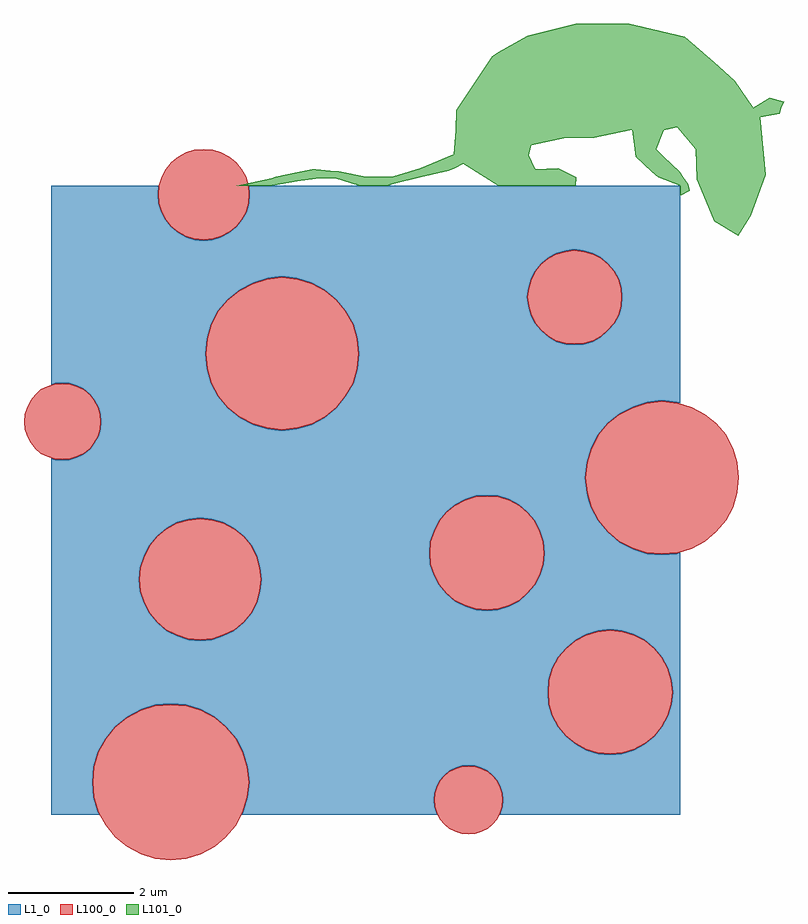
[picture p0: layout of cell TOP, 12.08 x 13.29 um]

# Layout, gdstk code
import gdstk
lib = gdstk.Library(unit=1e-6, precision=1e-08)
def R(c, l, rs):  # rectangles x0, y0, x1, y1
    for r in rs: c.add(gdstk.rectangle(r[:2], r[2:], *l))
def P(c, l, *ps):  # polygons
    for p in ps: c.add(gdstk.Polygon(p, *l))
L1_0 = (1, 0)
L100_0 = (100, 0)
L101_0 = (101, 0)

top = lib.new_cell('TOP')
R(top, L1_0, [(3.15,0,6.09,0.52), (7.18,0,8.06,0.24), (8.06,0,8.51,1.03), (8.51,0,8.89,0.96), (9.08,0,10,0.98), (7.18,0.24,8.06,0.54), (3.15,0.52,6.09,1.21), (7.09,0.54,8.06,1.4), (6.09,0.69,6.33,0.78), (6.33,0.74,6.43,0.78), (6.84,0.74,7.09,0.78), (6.09,0.78,6.64,1.4), (6.64,0.78,7.09,1.4), (9.26,0.98,9.59,1.03), (9.59,0.98,10,1.25), (0,1.21,0.87,1.67), (2.94,1.21,6.09,2.5), (6.09,1.4,7.9,1.95), (2.6,1.55,2.94,1.74), (0,1.67,1.43,2.5), (2.15,1.74,2.94,2.5), (1.43,1.76,1.9,2.5), (6.09,1.95,7.9,2.5), (0,2.5,1.69,3.06), (1.69,2.5,2.37,2.77), (2.37,2.5,2.92,2.77), (2.92,2.5,8.06,2.94), (1.69,2.77,2,2.85), (2.74,2.77,2.92,2.85), (9.44,2.77,10,2.94), (8.06,2.86,8.51,2.94), (9.26,2.86,9.44,2.94), (3.34,2.94,6.02,3.93), (6.02,2.94,6.93,3.25), (6.93,2.94,7.84,3.25), (7.84,2.94,8.89,4.47), (8.89,2.94,9.47,4.16), (9.71,2.94,10,4.14), (0,3.06,1.42,3.55), (6.02,3.25,6.42,3.4), (6.42,3.25,6.58,3.32), (7.28,3.25,7.44,3.32), (7.44,3.25,7.84,3.4), (0,3.74,1.4,4.11), (3.32,3.93,6.02,4.43), (0,4.11,1.48,4.71), (8.89,4.16,9.25,4.23), (3.06,4.43,6.02,5.01), (7.84,4.47,8.7,4.68), (1.48,4.55,1.83,4.71), (2.74,4.64,3.06,4.71), (0,4.71,2.37,5.01), (2.37,4.71,3.06,5.01), (0,5.01,6.58,5.07), (7.28,5.01,8.49,5.36), (0,5.07,0.18,5.64), (0.3,5.07,0.69,5.65), (0.69,5.07,2.46,5.91), (2.46,5.07,3.67,6.11), (3.67,5.07,4.89,6.11), (4.89,5.07,6.93,6.22), (6.93,5.07,7.28,5.36), (6.93,5.6,8.52,6.22), (0.52,5.65,0.69,5.74), (0.79,5.91,2.46,6.37), (2.46,6.11,3.21,6.21), (4.14,6.11,4.89,6.21), (4.89,6.22,8.18,7.49), (0.78,6.37,2.46,6.81), (8.18,6.37,8.47,7.48), (8.47,6.37,9.03,7.49), (9.03,6.55,9.47,7.49), (9.71,6.58,10,7.49), (0.42,6.81,2.46,8.55), (0,6.86,0.42,8.55), (4.89,7.49,7.57,8.23), (7.57,7.49,7.91,7.6), (8.74,7.49,8.95,7.6), (8.95,7.49,10,7.81), (9.06,7.81,10,8.08), (9.07,8.08,10,8.37), (4.89,8.23,7.57,8.98), (2.46,8.34,3,8.55), (4.35,8.34,4.89,8.55), (3,8.45,3.21,8.55), (4.14,8.45,4.35,8.55), (9.02,8.51,10,8.76), (0,8.55,3.67,8.98), (3.67,8.55,4.89,8.98), (8.85,8.76,10,8.98), (7.57,8.85,7.91,8.98), (7.91,8.92,8.03,8.98), (8.61,8.92,8.85,8.98), (0,8.98,1.82,9.46), (1.82,8.98,2.43,9.13), (2.43,8.98,3.03,9.13), (3.03,8.98,4.89,9.46), (4.89,8.98,8.32,10), (8.32,8.98,10,10), (1.82,9.13,2.15,9.19), (2.7,9.13,3.03,9.19), (0,9.46,1.7,10), (3.15,9.46,4.89,10)])
P(top, L1_0, [(6.09,0),(6.09,0.03),(6.13,0.03),(6.15,0)],
  [(6.09,0.03),(6.09,0.13),(6.1,0.13),(6.13,0.03)],
  [(6.09,0.13),(6.09,0.24),(6.1,0.13)],
  [(9.26,1.03),(9.44,1.13),(9.59,1.13),(9.59,1.03)],
  [(9.08,0.98),(9.26,1.03),(9.26,0.98)],
  [(9.44,1.13),(9.59,1.25),(9.59,1.13)],
  [(9.59,1.25),(9.71,1.4),(10,1.4),(10,1.25)],
  [(9.71,1.4),(9.8,1.57),(10,1.57),(10,1.4)],
  [(9.8,1.57),(9.86,1.76),(10,1.76),(10,1.57)],
  [(9.86,1.76),(9.88,1.95),(10,1.95),(10,1.76)],
  [(9.88,1.95),(9.86,2.14),(10,2.14),(10,1.95)],
  [(9.86,2.14),(9.8,2.33),(10,2.33),(10,2.14)],
  [(9.8,2.33),(9.71,2.5),(10,2.5),(10,2.33)],
  [(8.89,0),(8.89,0.96),(9.08,0.98),(9.08,0)],
  [(8.51,0.96),(8.51,1.03),(8.69,0.98),(8.89,0.96)],
  [(8.06,1.03),(8.06,1.13),(8.34,1.13),(8.51,1.03)],
  [(8.06,1.13),(8.06,1.25),(8.19,1.25),(8.34,1.13)],
  [(8.06,1.25),(8.06,1.4),(8.19,1.25)],
  [(7.13,0),(7.14,0.03),(7.18,0.03),(7.18,0)],
  [(7.14,0.03),(7.17,0.13),(7.18,0.13),(7.18,0.03)],
  [(7.17,0.13),(7.18,0.24),(7.18,0.13)],
  [(7.18,0.24),(7.17,0.34),(7.18,0.34)],
  [(7.17,0.34),(7.14,0.44),(7.18,0.44),(7.18,0.34)],
  [(7.14,0.44),(7.09,0.54),(7.18,0.54),(7.18,0.44)],
  [(7.09,0.54),(7.02,0.62),(6.94,0.69),(7.09,0.69)],
  [(6.94,0.69),(6.84,0.74),(7.09,0.74),(7.09,0.69)],
  [(6.84,0.74),(6.74,0.77),(6.64,0.78),(6.84,0.78)],
  [(6.09,0.24),(6.09,0.34),(6.1,0.34)],
  [(6.09,0.34),(6.09,0.44),(6.13,0.44),(6.1,0.34)],
  [(6.09,0.44),(6.09,0.54),(6.18,0.54),(6.13,0.44)],
  [(6.09,0.54),(6.09,0.62),(6.25,0.62),(6.18,0.54)],
  [(6.09,0.62),(6.09,0.69),(6.33,0.69),(6.25,0.62)],
  [(6.53,0.77),(6.53,0.78),(6.64,0.78)],
  [(6.33,0.69),(6.33,0.74),(6.43,0.74)],
  [(6.43,0.74),(6.43,0.78),(6.53,0.78),(6.53,0.77)],
  [(7.9,1.4),(7.9,1.57),(7.97,1.57),(8.06,1.4)],
  [(7.9,1.57),(7.9,1.76),(7.91,1.76),(7.97,1.57)],
  [(7.9,1.76),(7.9,1.95),(7.91,1.76)],
  [(7.9,1.95),(7.9,2.14),(7.91,2.14)],
  [(7.9,2.14),(7.9,2.33),(7.97,2.33),(7.91,2.14)],
  [(7.9,2.33),(7.9,2.5),(8.06,2.5),(7.97,2.33)],
  [(0,0),(0,0.04),(0.75,0.04),(0.78,0)],
  [(0,0.04),(0,0.28),(0.68,0.28),(0.75,0.04)],
  [(0,0.28),(0,0.52),(0.66,0.52),(0.68,0.28)],
  [(0,0.52),(0,0.76),(0.68,0.76),(0.66,0.52)],
  [(0,0.76),(0,1),(0.75,1),(0.68,0.76)],
  [(0,1),(0,1.21),(0.87,1.21),(0.75,1)],
  [(3.03,0),(3.05,0.04),(3.15,0.04),(3.15,0)],
  [(3.05,0.04),(3.12,0.28),(3.15,0.28),(3.15,0.04)],
  [(3.12,0.28),(3.15,0.52),(3.15,0.28)],
  [(3.15,0.52),(3.12,0.76),(3.15,0.76)],
  [(3.12,0.76),(3.05,1),(3.15,1),(3.15,0.76)],
  [(3.05,1),(2.94,1.21),(3.15,1.21),(3.15,1)],
  [(2.94,1.21),(2.78,1.4),(2.94,1.4)],
  [(2.78,1.4),(2.6,1.55),(2.94,1.55),(2.94,1.4)],
  [(2.6,1.55),(2.38,1.67),(2.15,1.74),(2.6,1.74)],
  [(2.15,1.74),(1.9,1.76),(1.9,2.5),(2.15,2.5)],
  [(1.43,1.67),(1.43,1.76),(1.9,1.76),(1.66,1.74)],
  [(0.87,1.21),(0.87,1.4),(1.02,1.4)],
  [(0.87,1.4),(0.87,1.55),(1.21,1.55),(1.02,1.4)],
  [(0.87,1.55),(0.87,1.67),(1.43,1.67),(1.21,1.55)],
  [(9.71,2.5),(9.59,2.65),(10,2.65),(10,2.5)],
  [(9.59,2.65),(9.44,2.77),(10,2.77),(10,2.65)],
  [(9.44,2.77),(9.26,2.86),(9.44,2.86)],
  [(9.26,2.86),(9.08,2.92),(9.08,2.94),(9.26,2.94)],
  [(9.08,2.92),(8.89,2.94),(9.08,2.94)],
  [(9.71,4.14),(9.95,4.16),(10,4.18),(10,4.14)],
  [(9.47,2.94),(9.47,4.16),(9.71,4.14),(9.71,2.94)],
  [(9.25,4.16),(9.25,4.23),(9.47,4.16)],
  [(8.89,4.23),(8.89,4.34),(9.03,4.34),(9.25,4.23)],
  [(8.89,4.34),(8.89,4.47),(9.03,4.34)],
  [(8.7,4.47),(8.7,4.68),(8.85,4.5),(8.89,4.47)],
  [(7.84,4.68),(7.84,4.89),(8.59,4.89),(8.7,4.68)],
  [(7.84,4.89),(7.84,5.01),(8.55,5.01),(8.59,4.89)],
  [(7.84,4.16),(7.82,4.34),(7.77,4.51),(7.84,4.51)],
  [(7.77,4.51),(7.69,4.67),(7.84,4.67),(7.84,4.51)],
  [(7.69,4.67),(7.57,4.81),(7.84,4.81),(7.84,4.67)],
  [(7.57,4.81),(7.44,4.92),(7.84,4.92),(7.84,4.81)],
  [(7.44,4.92),(7.28,5.01),(7.84,5.01),(7.84,4.92)],
  [(7.44,3.4),(7.57,3.52),(7.84,3.52),(7.84,3.4)],
  [(7.11,3.25),(7.11,3.27),(7.28,3.32),(7.28,3.25)],
  [(7.28,3.32),(7.44,3.4),(7.44,3.32)],
  [(6.93,3.25),(7.11,3.27),(7.11,3.25)],
  [(7.57,3.52),(7.69,3.66),(7.84,3.66),(7.84,3.52)],
  [(7.69,3.66),(7.77,3.81),(7.84,3.81),(7.84,3.66)],
  [(7.77,3.81),(7.82,3.98),(7.84,4.16),(7.84,3.81)],
  [(6.75,3.25),(6.75,3.27),(6.93,3.25)],
  [(6.58,3.25),(6.58,3.32),(6.75,3.27),(6.75,3.25)],
  [(6.42,3.32),(6.42,3.4),(6.58,3.32)],
  [(6.02,3.4),(6.02,3.52),(6.28,3.52),(6.42,3.4)],
  [(6.02,3.52),(6.02,3.66),(6.17,3.66),(6.28,3.52)],
  [(6.02,3.66),(6.02,3.81),(6.09,3.81),(6.17,3.66)],
  [(6.02,3.81),(6.02,4.16),(6.03,3.98),(6.09,3.81)],
  [(6.02,4.16),(6.02,4.51),(6.09,4.51),(6.03,4.34)],
  [(6.02,4.51),(6.02,4.67),(6.17,4.67),(6.09,4.51)],
  [(6.02,4.67),(6.02,4.81),(6.28,4.81),(6.17,4.67)],
  [(6.02,4.81),(6.02,4.92),(6.42,4.92),(6.28,4.81)],
  [(6.02,4.92),(6.02,5.01),(6.58,5.01),(6.42,4.92)],
  [(3.34,3.74),(3.32,3.93),(3.34,3.93)],
  [(2.92,2.94),(3.06,3.06),(3.34,3.06),(3.34,2.94)],
  [(3.06,3.06),(3.18,3.2),(3.34,3.2),(3.34,3.06)],
  [(3.18,3.2),(3.27,3.37),(3.34,3.37),(3.34,3.2)],
  [(3.27,3.37),(3.32,3.55),(3.34,3.74),(3.34,3.37)],
  [(3.32,3.93),(3.27,4.11),(3.32,4.11)],
  [(3.27,4.11),(3.18,4.28),(3.32,4.28),(3.32,4.11)],
  [(3.18,4.28),(3.06,4.43),(3.32,4.43),(3.32,4.28)],
  [(3.06,4.43),(2.91,4.55),(3.06,4.55)],
  [(2.91,4.55),(2.74,4.64),(3.06,4.64),(3.06,4.55)],
  [(2.74,4.64),(2.56,4.69),(2.37,4.71),(2.74,4.71)],
  [(8.06,2.5),(8.06,2.77),(8.34,2.77),(8.19,2.65)],
  [(8.51,2.86),(8.51,2.94),(8.89,2.94),(8.69,2.92)],
  [(8.06,2.77),(8.06,2.86),(8.51,2.86),(8.34,2.77)],
  [(2.56,2.77),(2.56,2.79),(2.74,2.85),(2.74,2.77)],
  [(2.74,2.85),(2.91,2.93),(2.92,2.94),(2.92,2.85)],
  [(2.37,2.77),(2.56,2.79),(2.56,2.77)],
  [(2,2.77),(2,2.85),(2.18,2.79),(2.37,2.77)],
  [(1.69,2.85),(1.69,2.93),(1.83,2.93),(2,2.85)],
  [(1.69,2.93),(1.69,3.06),(1.83,2.93)],
  [(1.42,3.06),(1.42,3.2),(1.57,3.2),(1.69,3.06)],
  [(1.42,3.2),(1.42,3.37),(1.48,3.37),(1.57,3.2)],
  [(1.42,3.37),(1.42,3.55),(1.48,3.37)],
  [(0,3.55),(0,3.74),(1.4,3.74),(1.42,3.55)],
  [(1.4,3.74),(1.4,4.11),(1.48,4.11),(1.42,3.93)],
  [(1.48,4.11),(1.48,4.43),(1.69,4.43),(1.57,4.28)],
  [(2,4.64),(2,4.71),(2.37,4.71),(2.18,4.69)],
  [(1.48,4.43),(1.48,4.55),(1.83,4.55),(1.69,4.43)],
  [(1.83,4.55),(1.83,4.71),(2,4.71),(2,4.64)],
  [(8.49,5.01),(8.49,5.36),(8.52,5.12),(8.55,5.01)],
  [(7.28,5.01),(7.11,5.06),(6.93,5.07),(7.28,5.07)],
  [(6.93,5.36),(6.93,5.6),(8.52,5.6),(8.49,5.36)],
  [(8.52,5.6),(8.52,5.82),(8.59,5.82)],
  [(8.52,5.82),(8.52,6.04),(8.7,6.04),(8.59,5.82)],
  [(8.52,6.04),(8.52,6.22),(8.85,6.22),(8.7,6.04)],
  [(10,6.54),(9.95,6.55),(9.71,6.58),(10,6.58)],
  [(9.47,6.55),(9.47,7.49),(9.71,7.49),(9.71,6.58)],
  [(9.03,6.37),(9.03,6.55),(9.47,6.55),(9.25,6.48)],
  [(8.18,6.22),(8.18,6.37),(9.03,6.37),(8.85,6.22)],
  [(8.32,7.48),(8.47,7.49),(8.47,7.48)],
  [(8.18,7.48),(8.18,7.49),(8.32,7.48)],
  [(8.47,7.49),(8.61,7.53),(8.74,7.6),(8.74,7.49)],
  [(8.74,7.6),(8.85,7.7),(8.95,7.81),(8.95,7.6)],
  [(8.95,7.81),(9.02,7.94),(9.06,8.08),(9.06,7.81)],
  [(9.07,8.23),(9.06,8.37),(9.07,8.37)],
  [(9.06,8.08),(9.07,8.23),(9.07,8.08)],
  [(9.06,8.37),(9.02,8.51),(10,8.51),(10,8.37)],
  [(9.02,8.51),(8.95,8.64),(8.85,8.76),(9.02,8.76)],
  [(8.85,8.76),(8.74,8.85),(8.85,8.85)],
  [(8.74,8.85),(8.61,8.92),(8.85,8.92),(8.85,8.85)],
  [(8.61,8.92),(8.47,8.96),(8.32,8.98),(8.61,8.98)],
  [(7.91,7.49),(7.91,7.6),(8.03,7.53),(8.18,7.49)],
  [(7.57,7.6),(7.57,7.7),(7.79,7.7),(7.91,7.6)],
  [(7.57,7.7),(7.57,7.81),(7.7,7.81),(7.79,7.7)],
  [(7.57,7.81),(7.57,7.94),(7.63,7.94),(7.7,7.81)],
  [(7.57,7.94),(7.57,8.08),(7.59,8.08),(7.63,7.94)],
  [(7.57,8.08),(7.57,8.23),(7.59,8.08)],
  [(7.57,8.23),(7.57,8.37),(7.59,8.37)],
  [(7.57,8.37),(7.57,8.51),(7.63,8.51),(7.59,8.37)],
  [(7.57,8.51),(7.57,8.64),(7.7,8.64),(7.63,8.51)],
  [(7.57,8.64),(7.57,8.76),(7.79,8.76),(7.7,8.64)],
  [(7.57,8.76),(7.57,8.85),(7.91,8.85),(7.79,8.76)],
  [(8.18,8.96),(8.18,8.98),(8.32,8.98)],
  [(7.91,8.85),(7.91,8.92),(8.03,8.92)],
  [(8.03,8.92),(8.03,8.98),(8.18,8.98),(8.18,8.96)],
  [(2.43,9.13),(2.57,9.15),(2.7,9.19),(2.7,9.13)],
  [(2.7,9.19),(2.83,9.26),(3.03,9.26),(3.03,9.19)],
  [(2.83,9.26),(2.94,9.35),(3.03,9.35),(3.03,9.26)],
  [(2.94,9.35),(3.03,9.46),(3.03,9.35)],
  [(3.15,9.86),(3.14,10),(3.15,10)],
  [(3.03,9.46),(3.1,9.58),(3.15,9.58),(3.15,9.46)],
  [(3.1,9.58),(3.14,9.72),(3.15,9.72),(3.15,9.58)],
  [(3.14,9.72),(3.15,9.86),(3.15,9.72)],
  [(2.15,9.13),(2.15,9.19),(2.28,9.15),(2.43,9.13)],
  [(1.82,9.19),(1.82,9.26),(2.02,9.26),(2.15,9.19)],
  [(1.82,9.26),(1.82,9.35),(1.91,9.35),(2.02,9.26)],
  [(1.82,9.35),(1.82,9.46),(1.91,9.35)],
  [(1.7,9.46),(1.7,9.58),(1.76,9.58),(1.82,9.46)],
  [(1.7,9.58),(1.7,9.72),(1.71,9.72),(1.76,9.58)],
  [(1.7,9.72),(1.7,9.86),(1.71,9.72)],
  [(1.7,9.86),(1.7,10),(1.71,10)],
  [(4.89,7.33),(4.87,7.57),(4.8,7.8),(4.89,7.8)],
  [(4.8,7.8),(4.68,8.01),(4.89,8.01),(4.89,7.8)],
  [(4.68,8.01),(4.53,8.19),(4.89,8.19),(4.89,8.01)],
  [(4.53,8.19),(4.35,8.34),(4.89,8.34),(4.89,8.19)],
  [(4.35,8.34),(4.14,8.45),(4.35,8.45)],
  [(4.14,8.45),(3.91,8.52),(3.91,8.55),(4.14,8.55)],
  [(3.91,8.52),(3.67,8.55),(3.91,8.55)],
  [(3.67,6.11),(3.91,6.14),(4.14,6.21),(4.14,6.11)],
  [(4.14,6.21),(4.35,6.32),(4.89,6.32),(4.89,6.21)],
  [(4.35,6.32),(4.53,6.47),(4.89,6.47),(4.89,6.32)],
  [(4.53,6.47),(4.68,6.65),(4.89,6.65),(4.89,6.47)],
  [(4.68,6.65),(4.8,6.86),(4.89,6.86),(4.89,6.65)],
  [(4.8,6.86),(4.87,7.09),(4.89,7.33),(4.89,6.86)],
  [(3.21,6.11),(3.21,6.21),(3.44,6.14),(3.67,6.11)],
  [(2.46,6.21),(2.46,6.32),(3,6.32),(3.21,6.21)],
  [(2.46,6.32),(2.46,6.47),(2.81,6.47),(3,6.32)],
  [(2.46,6.47),(2.46,6.65),(2.66,6.65),(2.81,6.47)],
  [(2.46,6.65),(2.46,6.86),(2.55,6.86),(2.66,6.65)],
  [(2.46,6.86),(2.46,7.33),(2.48,7.09),(2.55,6.86)],
  [(2.46,7.33),(2.46,7.57),(2.48,7.57)],
  [(2.46,7.57),(2.46,7.8),(2.55,7.8),(2.48,7.57)],
  [(2.46,7.8),(2.46,8.01),(2.66,8.01),(2.55,7.8)],
  [(2.46,8.01),(2.46,8.19),(2.81,8.19),(2.66,8.01)],
  [(2.46,8.19),(2.46,8.34),(3,8.34),(2.81,8.19)],
  [(3.44,8.52),(3.44,8.55),(3.67,8.55)],
  [(3,8.34),(3,8.45),(3.21,8.45)],
  [(3.21,8.45),(3.21,8.55),(3.44,8.55),(3.44,8.52)],
  [(0.3,5.65),(0.42,5.69),(0.52,5.74),(0.52,5.65)],
  [(0.52,5.74),(0.62,5.82),(0.69,5.82),(0.69,5.74)],
  [(0.62,5.82),(0.69,5.91),(0.69,5.82)],
  [(0.18,5.07),(0.18,5.64),(0.3,5.65),(0.3,5.07)],
  [(0,5.64),(0,5.67),(0.06,5.65),(0.18,5.64)],
  [(0.79,6.25),(0.78,6.37),(0.79,6.37)],
  [(0.69,5.91),(0.75,6.02),(0.79,6.02),(0.79,5.91)],
  [(0.75,6.02),(0.78,6.13),(0.79,6.13),(0.79,6.02)],
  [(0.78,6.13),(0.79,6.25),(0.79,6.13)],
  [(0.78,6.37),(0.75,6.48),(0.69,6.59),(0.78,6.59)],
  [(0.69,6.59),(0.62,6.68),(0.78,6.68),(0.78,6.59)],
  [(0.62,6.68),(0.52,6.76),(0.78,6.76),(0.78,6.68)],
  [(0.52,6.76),(0.42,6.81),(0.78,6.81),(0.78,6.76)],
  [(0,6.83),(0,6.86),(0.18,6.86),(0.06,6.85)],
  [(0.42,6.81),(0.3,6.85),(0.18,6.86),(0.42,6.86)],
  [(6.58,5.01),(6.58,5.07),(6.93,5.07),(6.75,5.06)])
R(top, L100_0, [(1.21,-0.51,1.9,-0.17), (1.9,-0.51,2.6,-0.17), (6.64,-0.22,6.94,-0.07), (0.87,-0.17,2.94,0.52), (6.18,-0.07,7.09,0.24), (6.18,0.24,7.09,0.54), (0.87,0.52,2.94,1.21), (6.33,0.54,6.64,0.69), (6.64,0.54,6.94,0.69), (8.34,1.13,8.89,1.4), (8.89,1.13,9.44,1.4), (1.21,1.21,1.9,1.55), (1.9,1.21,2.6,1.55), (8.06,1.4,9.71,1.95), (8.06,1.95,9.71,2.5), (8.34,2.5,8.89,2.77), (8.89,2.5,9.44,2.77), (1.83,2.93,2.37,3.2), (2.37,2.93,2.91,3.2), (1.57,3.2,3.18,3.74), (6.42,3.4,6.93,3.66), (6.93,3.4,7.44,3.66), (6.17,3.66,7.69,4.16), (1.57,3.74,3.18,4.28), (6.17,4.16,7.69,4.67), (1.83,4.28,2.37,4.55), (2.37,4.28,2.91,4.55), (9.03,4.34,9.71,4.68), (9.71,4.34,10.39,4.68), (6.42,4.67,6.93,4.92), (6.93,4.67,7.44,4.92), (8.7,4.68,10.73,5.36), (8.7,5.36,10.73,6.04), (-0.16,5.74,0.18,5.91), (0.18,5.74,0.52,5.91), (-0.32,5.91,0.69,6.25), (9.03,6.04,9.71,6.37), (9.71,6.04,10.39,6.37), (-0.32,6.25,0.69,6.59), (3,6.32,3.67,6.65), (3.67,6.32,4.35,6.65), (-0.16,6.59,0.18,6.76), (0.18,6.59,0.52,6.76), (2.66,6.65,4.68,7.33), (2.66,7.33,4.68,8.01), (7.91,7.6,8.32,7.81), (8.32,7.6,8.74,7.81), (7.7,7.81,8.95,8.23), (3,8.01,3.67,8.34), (3.67,8.01,4.35,8.34), (7.7,8.23,8.95,8.64), (7.91,8.64,8.32,8.85), (8.32,8.64,8.74,8.85), (2.02,9.26,2.43,9.46), (2.43,9.26,2.83,9.46), (1.82,9.46,3.03,9.86), (1.82,9.86,3.03,10.26), (2.02,10.26,2.43,10.46), (2.43,10.26,2.83,10.46)])
P(top, L100_0, [(3.91,6.14),(3.91,6.32),(4.35,6.32),(4.14,6.21)],
  [(3.67,6.11),(3.67,6.32),(3.91,6.32),(3.91,6.14)],
  [(4.35,6.32),(4.35,6.65),(4.68,6.65),(4.53,6.47)],
  [(3.67,6.11),(3.44,6.14),(3.44,6.32),(3.67,6.32)],
  [(3.44,6.14),(3.21,6.21),(3,6.32),(3.44,6.32)],
  [(3,6.32),(2.81,6.47),(2.66,6.65),(3,6.65)],
  [(4.68,6.65),(4.68,7.09),(4.87,7.09),(4.8,6.86)],
  [(4.68,7.09),(4.68,7.33),(4.89,7.33),(4.87,7.09)],
  [(2.66,6.65),(2.55,6.86),(2.48,7.09),(2.66,7.09)],
  [(2.48,7.09),(2.46,7.33),(2.66,7.33),(2.66,7.09)],
  [(4.68,7.33),(4.68,7.57),(4.87,7.57),(4.89,7.33)],
  [(4.68,7.57),(4.68,8.01),(4.8,7.8),(4.87,7.57)],
  [(2.46,7.33),(2.48,7.57),(2.66,7.57),(2.66,7.33)],
  [(2.48,7.57),(2.55,7.8),(2.66,8.01),(2.66,7.57)],
  [(4.35,8.01),(4.35,8.34),(4.53,8.19),(4.68,8.01)],
  [(3.91,8.34),(3.91,8.52),(4.14,8.45),(4.35,8.34)],
  [(3.67,8.34),(3.67,8.55),(3.91,8.52),(3.91,8.34)],
  [(2.66,8.01),(2.81,8.19),(3,8.34),(3,8.01)],
  [(3.44,8.34),(3.44,8.52),(3.67,8.55),(3.67,8.34)],
  [(3,8.34),(3.21,8.45),(3.44,8.52),(3.44,8.34)],
  [(2.57,9.15),(2.57,9.26),(2.83,9.26),(2.7,9.19)],
  [(2.43,9.13),(2.43,9.26),(2.57,9.26),(2.57,9.15)],
  [(2.83,9.26),(2.83,9.46),(3.03,9.46),(2.94,9.35)],
  [(2.43,9.13),(2.28,9.15),(2.28,9.26),(2.43,9.26)],
  [(2.28,9.15),(2.15,9.19),(2.02,9.26),(2.28,9.26)],
  [(2.02,9.26),(1.91,9.35),(1.82,9.46),(2.02,9.46)],
  [(3.03,9.46),(3.03,9.72),(3.14,9.72),(3.1,9.58)],
  [(3.03,9.72),(3.03,9.86),(3.15,9.86),(3.14,9.72)],
  [(1.82,9.46),(1.76,9.58),(1.71,9.72),(1.82,9.72)],
  [(1.71,9.72),(1.7,9.86),(1.82,9.86),(1.82,9.72)],
  [(3.03,9.86),(3.03,10),(3.14,10),(3.15,9.86)],
  [(3.03,10),(3.03,10.26),(3.1,10.14),(3.14,10)],
  [(1.7,9.86),(1.71,10),(1.82,10),(1.82,9.86)],
  [(1.71,10),(1.76,10.14),(1.82,10.26),(1.82,10)],
  [(2.83,10.26),(2.83,10.46),(2.94,10.37),(3.03,10.26)],
  [(2.57,10.46),(2.57,10.57),(2.7,10.53),(2.83,10.46)],
  [(2.43,10.46),(2.43,10.58),(2.57,10.57),(2.57,10.46)],
  [(1.82,10.26),(1.91,10.37),(2.02,10.46),(2.02,10.26)],
  [(2.28,10.46),(2.28,10.57),(2.43,10.58),(2.43,10.46)],
  [(2.02,10.46),(2.15,10.53),(2.28,10.57),(2.28,10.46)],
  [(0.3,5.65),(0.3,5.74),(0.52,5.74),(0.42,5.69)],
  [(0.18,5.64),(0.18,5.74),(0.3,5.74),(0.3,5.65)],
  [(0.52,5.74),(0.52,5.91),(0.69,5.91),(0.62,5.82)],
  [(0.18,5.64),(0.06,5.65),(0.06,5.74),(0.18,5.74)],
  [(0.06,5.65),(-0.05,5.69),(-0.16,5.74),(0.06,5.74)],
  [(-0.16,5.74),(-0.25,5.82),(-0.32,5.91),(-0.16,5.91)],
  [(0.69,5.91),(0.69,6.13),(0.78,6.13),(0.75,6.02)],
  [(0.69,6.13),(0.69,6.25),(0.79,6.25),(0.78,6.13)],
  [(-0.32,5.91),(-0.38,6.02),(-0.42,6.13),(-0.32,6.13)],
  [(-0.42,6.13),(-0.43,6.25),(-0.32,6.25),(-0.32,6.13)],
  [(0.69,6.25),(0.69,6.37),(0.78,6.37),(0.79,6.25)],
  [(0.69,6.37),(0.69,6.59),(0.75,6.48),(0.78,6.37)],
  [(-0.43,6.25),(-0.42,6.37),(-0.32,6.37),(-0.32,6.25)],
  [(-0.42,6.37),(-0.38,6.48),(-0.32,6.59),(-0.32,6.37)],
  [(0.52,6.59),(0.52,6.76),(0.62,6.68),(0.69,6.59)],
  [(0.3,6.76),(0.3,6.85),(0.42,6.81),(0.52,6.76)],
  [(0.18,6.76),(0.18,6.86),(0.3,6.85),(0.3,6.76)],
  [(-0.32,6.59),(-0.25,6.68),(-0.16,6.76),(-0.16,6.59)],
  [(0.06,6.76),(0.06,6.85),(0.18,6.86),(0.18,6.76)],
  [(-0.16,6.76),(-0.05,6.81),(0.06,6.85),(0.06,6.76)],
  [(2.56,2.79),(2.56,2.93),(2.91,2.93),(2.74,2.85)],
  [(2.37,2.77),(2.37,2.93),(2.56,2.93),(2.56,2.79)],
  [(2.91,2.93),(2.91,3.2),(3.18,3.2),(3.06,3.06)],
  [(2.37,2.77),(2.18,2.79),(2.18,2.93),(2.37,2.93)],
  [(2.18,2.79),(2,2.85),(1.83,2.93),(2.18,2.93)],
  [(1.83,2.93),(1.69,3.06),(1.57,3.2),(1.83,3.2)],
  [(3.18,3.2),(3.18,3.55),(3.32,3.55),(3.27,3.37)],
  [(3.18,3.55),(3.18,3.74),(3.34,3.74),(3.32,3.55)],
  [(1.57,3.2),(1.48,3.37),(1.42,3.55),(1.57,3.55)],
  [(1.42,3.55),(1.4,3.74),(1.57,3.74),(1.57,3.55)],
  [(3.18,3.74),(3.18,3.93),(3.32,3.93),(3.34,3.74)],
  [(3.18,3.93),(3.18,4.28),(3.27,4.11),(3.32,3.93)],
  [(1.4,3.74),(1.42,3.93),(1.57,3.93),(1.57,3.74)],
  [(1.42,3.93),(1.48,4.11),(1.57,4.28),(1.57,3.93)],
  [(2.91,4.28),(2.91,4.55),(3.06,4.43),(3.18,4.28)],
  [(2.56,4.55),(2.56,4.69),(2.74,4.64),(2.91,4.55)],
  [(2.37,4.55),(2.37,4.71),(2.56,4.69),(2.56,4.55)],
  [(1.57,4.28),(1.69,4.43),(1.83,4.55),(1.83,4.28)],
  [(2.18,4.55),(2.18,4.69),(2.37,4.71),(2.37,4.55)],
  [(1.83,4.55),(2,4.64),(2.18,4.69),(2.18,4.55)],
  [(9.95,4.16),(9.95,4.34),(10.39,4.34),(10.18,4.23)],
  [(9.71,4.14),(9.71,4.34),(9.95,4.34),(9.95,4.16)],
  [(10.39,4.34),(10.39,4.68),(10.73,4.68),(10.57,4.5)],
  [(9.71,4.14),(9.47,4.16),(9.47,4.34),(9.71,4.34)],
  [(9.47,4.16),(9.25,4.23),(9.03,4.34),(9.47,4.34)],
  [(9.03,4.34),(8.85,4.5),(8.7,4.68),(9.03,4.68)],
  [(10.73,4.68),(10.73,5.12),(10.91,5.12),(10.84,4.89)],
  [(10.73,5.12),(10.73,5.36),(10.93,5.36),(10.91,5.12)],
  [(8.7,4.68),(8.59,4.89),(8.52,5.12),(8.7,5.12)],
  [(8.52,5.12),(8.49,5.36),(8.7,5.36),(8.7,5.12)],
  [(10.73,5.36),(10.73,5.6),(10.91,5.6),(10.93,5.36)],
  [(10.73,5.6),(10.73,6.04),(10.84,5.82),(10.91,5.6)],
  [(8.49,5.36),(8.52,5.6),(8.7,5.6),(8.7,5.36)],
  [(8.52,5.6),(8.59,5.82),(8.7,6.04),(8.7,5.6)],
  [(10.39,6.04),(10.39,6.37),(10.57,6.22),(10.73,6.04)],
  [(9.95,6.37),(9.95,6.55),(10.18,6.48),(10.39,6.37)],
  [(9.71,6.37),(9.71,6.58),(9.95,6.55),(9.95,6.37)],
  [(8.7,6.04),(8.85,6.22),(9.03,6.37),(9.03,6.04)],
  [(9.47,6.37),(9.47,6.55),(9.71,6.58),(9.71,6.37)],
  [(9.03,6.37),(9.25,6.48),(9.47,6.55),(9.47,6.37)],
  [(2.15,-0.7),(2.15,-0.51),(2.6,-0.51),(2.38,-0.63)],
  [(1.9,-0.72),(1.9,-0.51),(2.15,-0.51),(2.15,-0.7)],
  [(2.6,-0.51),(2.6,-0.17),(2.94,-0.17),(2.78,-0.36)],
  [(1.9,-0.72),(1.66,-0.7),(1.66,-0.51),(1.9,-0.51)],
  [(1.66,-0.7),(1.43,-0.63),(1.21,-0.51),(1.66,-0.51)],
  [(1.21,-0.51),(1.02,-0.36),(0.87,-0.17),(1.21,-0.17)],
  [(2.94,-0.17),(2.94,0.28),(3.12,0.28),(3.05,0.04)],
  [(2.94,0.28),(2.94,0.52),(3.15,0.52),(3.12,0.28)],
  [(0.87,-0.17),(0.75,0.04),(0.68,0.28),(0.87,0.28)],
  [(0.68,0.28),(0.66,0.52),(0.87,0.52),(0.87,0.28)],
  [(2.94,0.52),(2.94,0.76),(3.12,0.76),(3.15,0.52)],
  [(2.94,0.76),(2.94,1.21),(3.05,1),(3.12,0.76)],
  [(0.66,0.52),(0.68,0.76),(0.87,0.76),(0.87,0.52)],
  [(0.68,0.76),(0.75,1),(0.87,1.21),(0.87,0.76)],
  [(2.6,1.21),(2.6,1.55),(2.78,1.4),(2.94,1.21)],
  [(2.15,1.55),(2.15,1.74),(2.38,1.67),(2.6,1.55)],
  [(1.9,1.55),(1.9,1.76),(2.15,1.74),(2.15,1.55)],
  [(0.87,1.21),(1.02,1.4),(1.21,1.55),(1.21,1.21)],
  [(1.66,1.55),(1.66,1.74),(1.9,1.76),(1.9,1.55)],
  [(1.21,1.55),(1.43,1.67),(1.66,1.74),(1.66,1.55)],
  [(9.08,0.98),(9.08,1.13),(9.44,1.13),(9.26,1.03)],
  [(8.89,0.96),(8.89,1.13),(9.08,1.13),(9.08,0.98)],
  [(9.44,1.13),(9.44,1.4),(9.71,1.4),(9.59,1.25)],
  [(8.89,0.96),(8.69,0.98),(8.69,1.13),(8.89,1.13)],
  [(8.69,0.98),(8.51,1.03),(8.34,1.13),(8.69,1.13)],
  [(8.34,1.13),(8.19,1.25),(8.06,1.4),(8.34,1.4)],
  [(9.71,1.4),(9.71,1.76),(9.86,1.76),(9.8,1.57)],
  [(9.71,1.76),(9.71,1.95),(9.88,1.95),(9.86,1.76)],
  [(8.06,1.4),(7.97,1.57),(7.91,1.76),(8.06,1.76)],
  [(7.91,1.76),(7.9,1.95),(8.06,1.95),(8.06,1.76)],
  [(9.71,1.95),(9.71,2.14),(9.86,2.14),(9.88,1.95)],
  [(9.71,2.14),(9.71,2.5),(9.8,2.33),(9.86,2.14)],
  [(7.9,1.95),(7.91,2.14),(8.06,2.14),(8.06,1.95)],
  [(7.91,2.14),(7.97,2.33),(8.06,2.5),(8.06,2.14)],
  [(9.44,2.5),(9.44,2.77),(9.59,2.65),(9.71,2.5)],
  [(9.08,2.77),(9.08,2.92),(9.26,2.86),(9.44,2.77)],
  [(8.89,2.77),(8.89,2.94),(9.08,2.92),(9.08,2.77)],
  [(8.06,2.5),(8.19,2.65),(8.34,2.77),(8.34,2.5)],
  [(8.69,2.77),(8.69,2.92),(8.89,2.94),(8.89,2.77)],
  [(8.34,2.77),(8.51,2.86),(8.69,2.92),(8.69,2.77)],
  [(8.47,7.49),(8.47,7.6),(8.74,7.6),(8.61,7.53)],
  [(8.32,7.48),(8.32,7.6),(8.47,7.6),(8.47,7.49)],
  [(8.74,7.6),(8.74,7.81),(8.95,7.81),(8.85,7.7)],
  [(8.32,7.48),(8.18,7.49),(8.18,7.6),(8.32,7.6)],
  [(8.18,7.49),(8.03,7.53),(7.91,7.6),(8.18,7.6)],
  [(7.91,7.6),(7.79,7.7),(7.7,7.81),(7.91,7.81)],
  [(8.95,7.81),(8.95,8.08),(9.06,8.08),(9.02,7.94)],
  [(8.95,8.08),(8.95,8.23),(9.07,8.23),(9.06,8.08)],
  [(7.7,7.81),(7.63,7.94),(7.59,8.08),(7.7,8.08)],
  [(7.59,8.08),(7.57,8.23),(7.7,8.23),(7.7,8.08)],
  [(8.95,8.23),(8.95,8.37),(9.06,8.37),(9.07,8.23)],
  [(8.95,8.37),(8.95,8.64),(9.02,8.51),(9.06,8.37)],
  [(7.57,8.23),(7.59,8.37),(7.7,8.37),(7.7,8.23)],
  [(7.59,8.37),(7.63,8.51),(7.7,8.64),(7.7,8.37)],
  [(8.74,8.64),(8.74,8.85),(8.85,8.76),(8.95,8.64)],
  [(8.47,8.85),(8.47,8.96),(8.61,8.92),(8.74,8.85)],
  [(8.32,8.85),(8.32,8.98),(8.47,8.96),(8.47,8.85)],
  [(7.7,8.64),(7.79,8.76),(7.91,8.85),(7.91,8.64)],
  [(8.18,8.85),(8.18,8.96),(8.32,8.98),(8.32,8.85)],
  [(7.91,8.85),(8.03,8.92),(8.18,8.96),(8.18,8.85)],
  [(7.11,3.27),(7.11,3.4),(7.44,3.4),(7.28,3.32)],
  [(6.93,3.25),(6.93,3.4),(7.11,3.4),(7.11,3.27)],
  [(7.44,3.4),(7.44,3.66),(7.69,3.66),(7.57,3.52)],
  [(6.93,3.25),(6.75,3.27),(6.75,3.4),(6.93,3.4)],
  [(6.75,3.27),(6.58,3.32),(6.42,3.4),(6.75,3.4)],
  [(6.42,3.4),(6.28,3.52),(6.17,3.66),(6.42,3.66)],
  [(7.69,3.66),(7.69,3.98),(7.82,3.98),(7.77,3.81)],
  [(7.69,3.98),(7.69,4.16),(7.84,4.16),(7.82,3.98)],
  [(6.17,3.66),(6.09,3.81),(6.03,3.98),(6.17,3.98)],
  [(6.03,3.98),(6.02,4.16),(6.17,4.16),(6.17,3.98)],
  [(7.69,4.16),(7.69,4.34),(7.82,4.34),(7.84,4.16)],
  [(7.69,4.34),(7.69,4.67),(7.77,4.51),(7.82,4.34)],
  [(6.02,4.16),(6.03,4.34),(6.17,4.34),(6.17,4.16)],
  [(6.03,4.34),(6.09,4.51),(6.17,4.67),(6.17,4.34)],
  [(7.44,4.67),(7.44,4.92),(7.57,4.81),(7.69,4.67)],
  [(7.11,4.92),(7.11,5.06),(7.28,5.01),(7.44,4.92)],
  [(6.93,4.92),(6.93,5.07),(7.11,5.06),(7.11,4.92)],
  [(6.17,4.67),(6.28,4.81),(6.42,4.92),(6.42,4.67)],
  [(6.75,4.92),(6.75,5.06),(6.93,5.07),(6.93,4.92)],
  [(6.42,4.92),(6.58,5.01),(6.75,5.06),(6.75,4.92)],
  [(6.74,-0.3),(6.74,-0.22),(6.94,-0.22),(6.84,-0.27)],
  [(6.64,-0.31),(6.64,-0.22),(6.74,-0.22),(6.74,-0.3)],
  [(6.94,-0.22),(6.94,-0.07),(7.09,-0.07),(7.02,-0.15)],
  [(6.64,-0.31),(6.53,-0.3),(6.53,-0.22),(6.64,-0.22)],
  [(6.53,-0.3),(6.43,-0.27),(6.33,-0.22),(6.53,-0.22)],
  [(6.33,-0.22),(6.25,-0.15),(6.64,-0.15),(6.64,-0.22)],
  [(6.25,-0.15),(6.18,-0.07),(6.64,-0.07),(6.64,-0.15)],
  [(7.09,-0.07),(7.09,0.13),(7.17,0.13),(7.14,0.03)],
  [(7.09,0.13),(7.09,0.24),(7.18,0.24),(7.17,0.13)],
  [(6.18,-0.07),(6.13,0.03),(6.1,0.13),(6.18,0.13)],
  [(6.1,0.13),(6.09,0.24),(6.18,0.24),(6.18,0.13)],
  [(7.09,0.24),(7.09,0.34),(7.17,0.34),(7.18,0.24)],
  [(7.09,0.34),(7.09,0.54),(7.14,0.44),(7.17,0.34)],
  [(6.09,0.24),(6.1,0.34),(6.18,0.34),(6.18,0.24)],
  [(6.1,0.34),(6.13,0.44),(6.18,0.54),(6.18,0.34)],
  [(6.94,0.54),(6.94,0.69),(7.02,0.62),(7.09,0.54)],
  [(6.74,0.69),(6.74,0.77),(6.84,0.74),(6.94,0.69)],
  [(6.64,0.69),(6.64,0.78),(6.74,0.77),(6.74,0.69)],
  [(6.18,0.54),(6.25,0.62),(6.33,0.69),(6.33,0.54)],
  [(6.53,0.69),(6.53,0.77),(6.64,0.78),(6.64,0.69)],
  [(6.33,0.69),(6.43,0.74),(6.53,0.77),(6.53,0.69)])
R(top, L101_0, [(7.11,10,7.7,10.26), (4.52,10.12,4.57,10.23), (6.4,10.35,6.55,10.5), (7.11,10.64,7.63,10.89), (7.11,10.89,9.29,12.12), (9.29,10.93,10.54,11.96), (10.54,11.09,11.16,11.24), (11.16,11.09,11.27,11.24), (8.34,12.12,9.29,12.55)])
P(top, L101_0, [(10.92,9.2),(10.54,9.43),(10.54,9.52),(11.12,9.52)],
  [(10.54,9.52),(10.54,10.17),(11.36,10.17),(11.12,9.52)],
  [(10.54,10.17),(10.54,11.09),(11.27,11.09),(11.36,10.17)],
  [(11.27,11.09),(11.27,11.24),(11.61,11.24),(11.58,11.14)],
  [(11.16,11.24),(11.42,11.4),(11.65,11.33),(11.61,11.24)],
  [(10.54,11.24),(10.54,11.67),(10.87,11.67),(11.16,11.24)],
  [(10.54,11.67),(10.54,11.96),(10.87,11.67)],
  [(10,9.84),(10,10.02),(10.13,10.02),(10.15,9.92)],
  [(10,10.02),(10,10.13),(10.05,10.13),(10.13,10.02)],
  [(10,10),(9.65,10.13),(10,10.13)],
  [(9.65,10.13),(9.55,10.22),(9.99,10.22),(10.05,10.13)],
  [(9.55,10.22),(9.29,10.46),(9.74,10.46),(9.99,10.22)],
  [(9.29,10.46),(9.29,10.58),(9.62,10.58),(9.74,10.46)],
  [(9.29,10.58),(9.29,10.88),(9.74,10.88),(9.62,10.58)],
  [(9.29,10.88),(9.29,10.93),(9.95,10.93),(9.74,10.88)],
  [(10.54,9.43),(10.26,10.1),(10.54,10.1)],
  [(10.26,10.1),(10.25,10.58),(10.54,10.58),(10.54,10.1)],
  [(10.25,10.58),(9.95,10.93),(10.54,10.93),(10.54,10.58)],
  [(9.29,11.96),(9.29,12.55),(10.07,12.37),(10.54,11.96)],
  [(7.7,10),(7.7,10.13),(8.35,10.13),(8.34,10)],
  [(7.7,10.13),(7.7,10.26),(8.06,10.28),(8.35,10.13)],
  [(7.11,10.26),(7.11,10.48),(7.59,10.48),(7.7,10.26)],
  [(8.19,10.76),(8.19,10.89),(9.24,10.89),(8.63,10.76)],
  [(7.11,10.48),(7.11,10.64),(7.63,10.64),(7.59,10.48)],
  [(7.63,10.64),(7.63,10.89),(8.19,10.89),(8.19,10.76)],
  [(9.29,10.46),(9.24,10.89),(9.29,10.89)],
  [(8.34,12.55),(8.34,12.57),(9.19,12.57),(9.29,12.55)],
  [(7.11,12.12),(7.58,12.38),(8.34,12.57),(8.34,12.12)],
  [(7.11,10),(6.55,10.35),(6.55,10.5),(7.11,10.5)],
  [(5.87,10.13),(5.87,10.28),(6.42,10.28),(6.32,10.24)],
  [(6.4,10.28),(6.4,10.35),(6.55,10.35),(6.42,10.28)],
  [(5.87,10.28),(6.4,10.5),(6.4,10.28)],
  [(5.45,10.03),(5.45,10.15),(5.87,10.28),(5.87,10.13)],
  [(5,10),(5,10.03),(5.45,10.03),(5.35,10)],
  [(5,10.03),(5,10.14),(5.45,10.15),(5.45,10.03)],
  [(6.4,10.5),(6.43,10.88),(7.11,10.88),(7.11,10.5)],
  [(6.43,10.88),(6.44,11.2),(7.11,11.2),(7.11,10.88)],
  [(4.9,10),(4.52,10.12),(5,10.12),(5,10)],
  [(4.57,10.12),(4.57,10.23),(5,10.14),(5,10.12)],
  [(4.21,10.11),(4.21,10.26),(4.52,10.23),(4.52,10.12)],
  [(3.91,10.07),(3.91,10.21),(4.21,10.21),(4.21,10.11)],
  [(3.91,10.21),(4.15,10.26),(4.21,10.26),(4.21,10.21)],
  [(3.51,10),(3.51,10.12),(3.91,10.12),(3.91,10.07)],
  [(3.51,10.12),(3.57,10.14),(3.91,10.21),(3.91,10.12)],
  [(2.95,10),(3.51,10.12),(3.51,10)],
  [(6.44,11.2),(7.01,12.06),(7.11,12.12),(7.11,11.2)])

lib.write_gds('TOP.gds')
